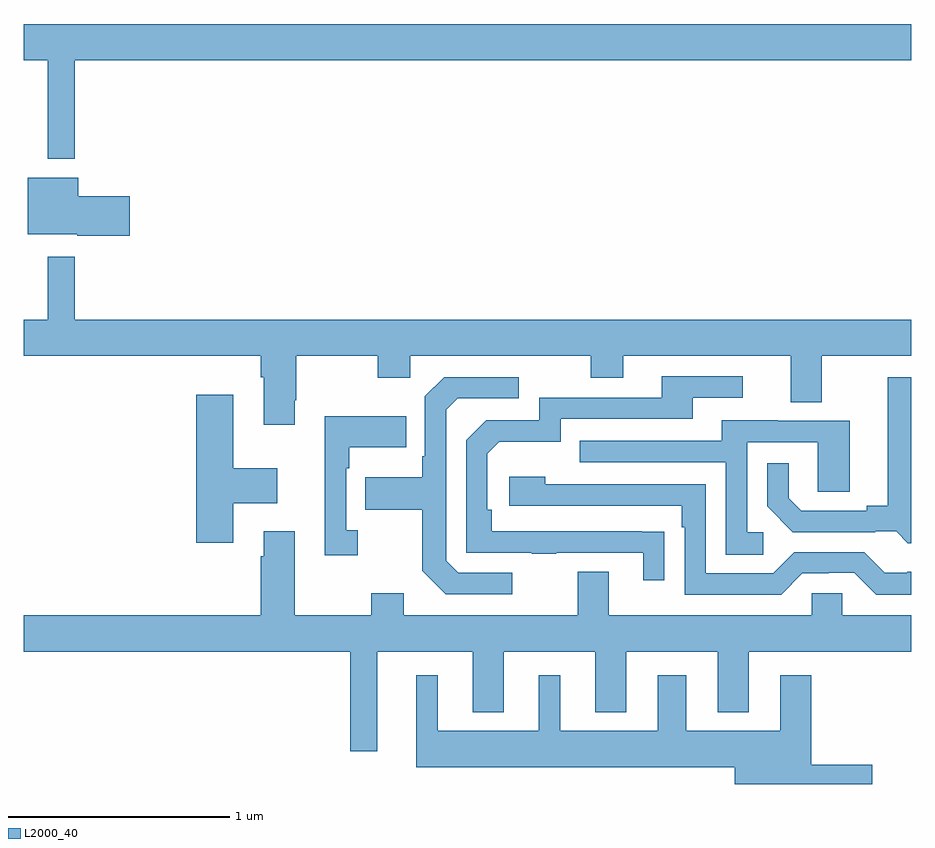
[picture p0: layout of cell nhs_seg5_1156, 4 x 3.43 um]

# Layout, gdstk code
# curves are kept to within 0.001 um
import gdstk
lib = gdstk.Library(unit=1e-6, precision=1e-09)
def P(c, l, *ps):  # polygons
    for p in ps: c.add(gdstk.Polygon(p, *l))
L2000_40 = (2000, 40)

nhs_seg5_1156 = lib.new_cell('nhs_seg5_1156')
P(nhs_seg5_1156, L2000_40, [(181.231,890.06),(185,890.06),(185,890.224),(181,890.224),(181,890.06),(181.109,890.06),(181.109,889.616),(181.231,889.616)],
  [(181.477,889.448),(181.246,889.448),(181.246,889.531),(181.019,889.531),(181.019,889.277),(181.242,889.277),(181.242,889.27),(181.477,889.27)],
  [(181.231,889.174),(181.109,889.174),(181.109,888.892),(181,888.892),(181,888.728),(182.069,888.728),(182.069,888.632),(182.081,888.632),(182.081,888.417),(182.221,888.417),(182.221,888.529),(182.229,888.529),(182.229,888.728),(182.596,888.728),(182.596,888.629),(182.742,888.629),(182.742,888.728),(183.556,888.728),(183.556,888.629),(183.703,888.629),(183.703,888.728),(184.457,888.728),(184.457,888.52),(184.597,888.52),(184.597,888.728),(185,888.728),(185,888.892),(181.231,888.892)],
  [(183.887,887.936),(183.11,887.937),(183.11,888.034),(183.09,888.034),(183.09,888.288),(183.143,888.341),(183.42,888.341),(183.42,888.444),(184.015,888.444),(184.015,888.54),(184.24,888.54),(184.24,888.636),(183.875,888.636),(183.875,888.54),(183.324,888.54),(183.324,888.438),(183.084,888.438),(182.994,888.348),(182.994,887.841),(183.289,887.841),(183.289,887.836),(183.401,887.836),(183.401,887.841),(183.791,887.841),(183.791,887.718),(183.887,887.718)],
  [(185,888.028),(185,888.633),(184.895,888.633),(184.895,888.053),(184.799,888.053),(184.799,888.03),(184.504,888.03),(184.447,888.087),(184.447,888.244),(184.35,888.244),(184.35,888.05),(184.466,887.934),(184.838,887.934),(184.838,887.937),(184.932,887.937),(184.984,887.885),(185,887.885)],
  [(183.202,887.751),(182.958,887.751),(182.904,887.805),(182.904,888.486),(182.955,888.537),(183.232,888.537),(183.232,888.633),(182.895,888.633),(182.808,888.546),(182.808,888.277),(182.796,888.277),(182.796,888.181),(182.539,888.181),(182.539,888.034),(182.796,888.034),(182.796,887.761),(182.901,887.655),(183.202,887.655)],
  [(181.945,888.065),(182.143,888.065),(182.143,888.223),(181.945,888.223),(181.945,888.553),(181.778,888.553),(181.778,887.886),(181.945,887.886)],
  [(182.506,887.942),(182.454,887.942),(182.454,888.221),(182.467,888.221),(182.467,888.317),(182.723,888.317),(182.723,888.457),(182.357,888.457),(182.357,887.829),(182.506,887.829)],
  [(184.333,887.934),(184.26,887.934),(184.26,888.339),(184.578,888.339),(184.578,888.115),(184.723,888.115),(184.723,888.435),(184.399,888.435),(184.399,888.439),(184.145,888.439),(184.145,888.345),(183.505,888.345),(183.505,888.249),(184.164,888.249),(184.164,887.833),(184.333,887.833)],
  [(185,887.755),(184.981,887.755),(184.981,887.751),(184.881,887.751),(184.788,887.844),(184.473,887.844),(184.377,887.748),(184.074,887.748),(184.074,888.15),(183.35,888.15),(183.35,888.184),(183.189,888.184),(183.189,888.054),(183.965,888.054),(183.965,887.957),(183.978,887.957),(183.978,887.652),(184.413,887.652),(184.509,887.748),(184.628,887.748),(184.628,887.751),(184.743,887.751),(184.843,887.651),(185,887.651)],
  [(182.593,887.396),(183.023,887.396),(183.023,887.123),(183.163,887.123),(183.163,887.396),(183.575,887.396),(183.575,887.123),(183.715,887.123),(183.715,887.396),(184.127,887.396),(184.127,887.123),(184.267,887.123),(184.267,887.396),(185,887.396),(185,887.56),(184.689,887.56),(184.689,887.658),(184.551,887.658),(184.551,887.56),(183.637,887.56),(183.637,887.755),(183.497,887.755),(183.497,887.56),(182.713,887.56),(182.713,887.659),(182.566,887.659),(182.566,887.56),(182.221,887.56),(182.221,887.938),(182.081,887.938),(182.081,887.825),(182.069,887.825),(182.069,887.56),(181,887.56),(181,887.396),(182.472,887.396),(182.472,886.947),(182.593,886.947)],
  [(184.825,886.886),(184.55,886.886),(184.55,887.29),(184.409,887.29),(184.409,887.038),(183.985,887.038),(183.985,887.29),(183.857,887.29),(183.857,887.038),(183.418,887.038),(183.418,887.29),(183.32,887.29),(183.32,887.038),(182.866,887.038),(182.866,887.29),(182.768,887.29),(182.768,886.874),(184.205,886.874),(184.205,886.799),(184.825,886.799)])

lib.write_gds('nhs_seg5_1156.gds')
